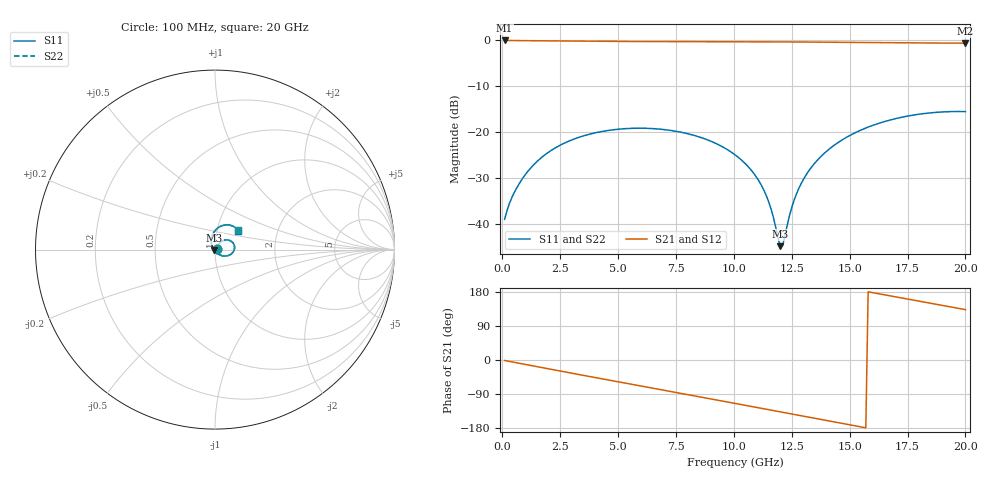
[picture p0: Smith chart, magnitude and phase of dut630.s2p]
! Touchstone file exported from HFSS 2026.1.0
!  File:  C:/ffzhzh/LocalFiles/Ansys_Project_Files/temp_train_TSV_RDL_630_1783125819_37876.aedt
!  Generated:  08:52:30 AM Jul  4, 2026
!  Design:  TSV_RDL
!  Project:  temp_train_TSV_RDL_630_1783125819_37876
! Variables:
!  h_bsmrdl = 5.1um
!  h_ox = 20um
!  h_rdl = 5um
!  h_sub = 87.76um
!  h_tmrdl = 5.23um
!  h_tsv = 87.76um
!  h_via = 3um
!  l_bsmrdl = 269.98um
!  l_sub = 3356.53um
!  l_tmrdl = 505.05um
!  m_sub = 200um
!  pitch = 35.79um
!  r_tsv = 14.87um
!  s_tmrdl = 10um
!  w_bsmrdl = 19.7um
!  w_sub = 500um
!  w_tmrdl = 22.43um
!  x_tsv_center1 = 516.265um
!  x_tsv_center2 = 805.945um
!  x_tsv_center3 = 1333.425um
!  x_tsv_center4 = 1623.105um
!  x_tsv_center5 = 2150.585um
!  x_tsv_center6 = 2440.265um
# GHz S MA R 50.000000
! Terminal data exported
! Port[1] = TM_RDL1_1_T1
! Port[2] = TM_RDL5_1_T1
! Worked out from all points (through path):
!   200 points, 100 MHz to 20 GHz, reference 50 ohm
!   highest |S21| = -0.09 dB at 100 MHz (marker M1); lowest = -0.7 dB at 20 GHz (marker M2)
!   group delay of S21, straight-line fit = 31.5 ps
!   lowest |S11| = -44.8 dB at 12 GHz (marker M3), VSWR 1.01, Z = 49.6 - j0.445 ohm
!   |S11| at or under -10 dB: start of sweep to end of sweep
!   |S22| runs from -44.8 to -15.5 dB; largest |S21 - S12| = 1.8e-14
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0.1  0.01124 21.8  0.9896 -1.2  0.9896 -1.2  0.01124 21.8
! Gamma 0 0 0 0
! Port Impedance 50 0 50 0
0.5  0.02156 46.3  0.9867 -6.0  0.9867 -6.0  0.02156 46.3
1.3  0.04257 53.5  0.9837 -15.3  0.9837 -15.3  0.04257 53.5
2.3  0.06749 47.4  0.9789 -26.8  0.9789 -26.8  0.06749 47.4
3.5  0.09072 35.7  0.9728 -40.6  0.9728 -40.6  0.09072 35.7
5.2  0.1083 17.7  0.9657 -59.8  0.9657 -59.8  0.1083 17.7
6.8  0.1075 0.2  0.9617 -77.8  0.9617 -77.8  0.1075 0.2
8.7  0.08511 -21.3  0.9594 -99.2  0.9594 -99.2  0.0851 -21.3
10.1  0.05536 -38.8  0.9582 -115.1  0.9582 -115.1  0.05536 -38.8
10.8  0.03716 -49.3  0.9573 -123.1  0.9573 -123.1  0.03716 -49.4
11.3  0.02322 -60.1  0.9564 -128.8  0.9564 -128.8  0.02322 -60.2
11.6  0.01476 -71.7  0.9558 -132.2  0.9558 -132.2  0.01477 -71.9
12  0.00574 -128.7  0.9549 -136.8  0.9549 -136.8  0.005786 -128.9
12.1  0.00575 -161.0  0.9546 -137.9  0.9546 -137.9  0.005801 -160.9
12.4  0.01224 148.3  0.9538 -141.4  0.9538 -141.4  0.01227 148.5
12.7  0.02111 133.3  0.9529 -144.8  0.9529 -144.8  0.02113 133.4
13.4  0.04292 117.7  0.9504 -152.8  0.9504 -152.8  0.04294 117.8
14  0.06163 108.8  0.948 -159.6  0.948 -159.6  0.06165 108.8
14.8  0.0857 98.4  0.9444 -168.7  0.9444 -168.7  0.08571 98.5
16.7  0.1341 76.1  0.9353 169.8  0.9353 169.8  0.1341 76.2
18.3  0.1597 58.2  0.929 151.9  0.929 151.9  0.1597 58.3
20  0.1667 39.6  0.9256 132.9  0.9256 132.9  0.1666 39.7
